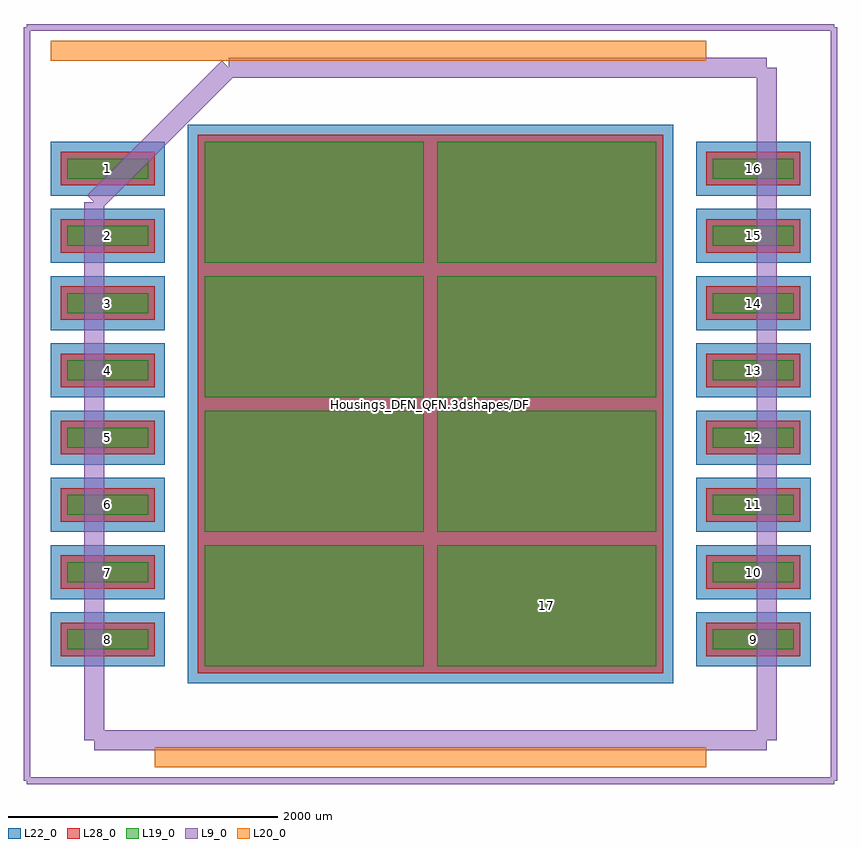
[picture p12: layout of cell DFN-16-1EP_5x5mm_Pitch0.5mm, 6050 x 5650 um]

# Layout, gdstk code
import gdstk
lib = gdstk.Library(unit=1e-6, precision=1e-09)
def R(c, l, rs):  # rectangles x0, y0, x1, y1
    for r in rs: c.add(gdstk.rectangle(r[:2], r[2:], *l))
def A(c, l, x, y, w, h, nx, ny, dx, dy):  # array of equal rectangles
    R(c, l, [(x+i*dx, y+j*dy, x+i*dx+w, y+j*dy+h) for i in range(nx) for j in range(ny)])
L9_0 = (9, 0)
L19_0 = (19, 0)
L20_0 = (20, 0)
L22_0 = (22, 0)
L28_0 = (28, 0)

dfn_16_1ep_5x5mm_pitch0_ = lib.new_cell('DFN-16-1EP_5x5mm_Pitch0.5mm')
A(dfn_16_1ep_5x5mm_pitch0_, L19_0, -1680, -1950, 1630, 900, 1, 4, 0, 1000)
A(dfn_16_1ep_5x5mm_pitch0_, L19_0, 50, -1950, 1630, 900, 1, 4, 0, 1000)
A(dfn_16_1ep_5x5mm_pitch0_, L19_0, -2700, -1825, 600, 150, 1, 8, 0, 500)
A(dfn_16_1ep_5x5mm_pitch0_, L19_0, 2100, -1825, 600, 150, 1, 8, 0, 500)
A(dfn_16_1ep_5x5mm_pitch0_, L22_0, -1805, -2075, 1880, 1150, 1, 4, 0, 1000)
A(dfn_16_1ep_5x5mm_pitch0_, L22_0, -75, -2075, 1880, 1150, 1, 4, 0, 1000)
A(dfn_16_1ep_5x5mm_pitch0_, L22_0, -2825, -1950, 850, 400, 1, 8, 0, 500)
A(dfn_16_1ep_5x5mm_pitch0_, L22_0, 1975, -1950, 850, 400, 1, 8, 0, 500)
A(dfn_16_1ep_5x5mm_pitch0_, L28_0, -1730, -2000, 1730, 1000, 1, 4, 0, 1000)
A(dfn_16_1ep_5x5mm_pitch0_, L28_0, 0, -2000, 1730, 1000, 1, 4, 0, 1000)
A(dfn_16_1ep_5x5mm_pitch0_, L28_0, -2750, -1875, 700, 250, 1, 8, 0, 500)
A(dfn_16_1ep_5x5mm_pitch0_, L28_0, 2050, -1875, 700, 250, 1, 8, 0, 500)
dfn_16_1ep_5x5mm_pitch0_.add(gdstk.FlexPath([(-2825,2625),(2050,2625)], 149.998, ends="flush", simple_path=True, layer=20, datatype=0))  # L20_0
dfn_16_1ep_5x5mm_pitch0_.add(gdstk.FlexPath([(-2050,-2625),(2050,-2625)], 149.998, ends="flush", simple_path=True, layer=20, datatype=0))  # L20_0
dfn_16_1ep_5x5mm_pitch0_.add(gdstk.FlexPath([(-3000,-2800),(3000,-2800)], 50, ends="flush", simple_path=True, layer=9, datatype=0))  # L9_0
dfn_16_1ep_5x5mm_pitch0_.add(gdstk.FlexPath([(-3000,2800),(3000,2800)], 50, ends="flush", simple_path=True, layer=9, datatype=0))  # L9_0
dfn_16_1ep_5x5mm_pitch0_.add(gdstk.FlexPath([(3000,2800),(3000,-2800)], 50, ends="flush", simple_path=True, layer=9, datatype=0))  # L9_0
dfn_16_1ep_5x5mm_pitch0_.add(gdstk.FlexPath([(-3000,2800),(-3000,-2800)], 50, ends="flush", simple_path=True, layer=9, datatype=0))  # L9_0
dfn_16_1ep_5x5mm_pitch0_.add(gdstk.FlexPath([(-2500,1500),(-1500,2500)], 149.998, ends="flush", simple_path=True, layer=9, datatype=0))  # L9_0
dfn_16_1ep_5x5mm_pitch0_.add(gdstk.FlexPath([(-2500,-2500),(-2500,1500)], 149.998, ends="flush", simple_path=True, layer=9, datatype=0))  # L9_0
dfn_16_1ep_5x5mm_pitch0_.add(gdstk.FlexPath([(2500,-2500),(-2500,-2500)], 149.998, ends="flush", simple_path=True, layer=9, datatype=0))  # L9_0
dfn_16_1ep_5x5mm_pitch0_.add(gdstk.FlexPath([(2500,2500),(2500,-2500)], 149.998, ends="flush", simple_path=True, layer=9, datatype=0))  # L9_0
dfn_16_1ep_5x5mm_pitch0_.add(gdstk.FlexPath([(-1500,2500),(2500,2500)], 149.998, ends="flush", simple_path=True, layer=9, datatype=0))  # L9_0
dfn_16_1ep_5x5mm_pitch0_.add(gdstk.Label('Housings_DFN_QFN.3dshapes/DFN-16-1EP_5x5mm_Pitch0.5mm.wrl', (0,0), layer=12, texttype=0))
dfn_16_1ep_5x5mm_pitch0_.add(gdstk.Label('17', (865,-1500), layer=28, texttype=0))
dfn_16_1ep_5x5mm_pitch0_.add(gdstk.Label('16', (2400,1750), layer=28, texttype=0))
dfn_16_1ep_5x5mm_pitch0_.add(gdstk.Label('15', (2400,1250), layer=28, texttype=0))
dfn_16_1ep_5x5mm_pitch0_.add(gdstk.Label('14', (2400,750), layer=28, texttype=0))
dfn_16_1ep_5x5mm_pitch0_.add(gdstk.Label('13', (2400,250), layer=28, texttype=0))
dfn_16_1ep_5x5mm_pitch0_.add(gdstk.Label('12', (2400,-250), layer=28, texttype=0))
dfn_16_1ep_5x5mm_pitch0_.add(gdstk.Label('11', (2400,-750), layer=28, texttype=0))
dfn_16_1ep_5x5mm_pitch0_.add(gdstk.Label('10', (2400,-1250), layer=28, texttype=0))
dfn_16_1ep_5x5mm_pitch0_.add(gdstk.Label('9', (2400,-1750), layer=28, texttype=0))
dfn_16_1ep_5x5mm_pitch0_.add(gdstk.Label('8', (-2400,-1750), layer=28, texttype=0))
dfn_16_1ep_5x5mm_pitch0_.add(gdstk.Label('7', (-2400,-1250), layer=28, texttype=0))
dfn_16_1ep_5x5mm_pitch0_.add(gdstk.Label('6', (-2400,-750), layer=28, texttype=0))
dfn_16_1ep_5x5mm_pitch0_.add(gdstk.Label('5', (-2400,-250), layer=28, texttype=0))
dfn_16_1ep_5x5mm_pitch0_.add(gdstk.Label('4', (-2400,250), layer=28, texttype=0))
dfn_16_1ep_5x5mm_pitch0_.add(gdstk.Label('3', (-2400,750), layer=28, texttype=0))
dfn_16_1ep_5x5mm_pitch0_.add(gdstk.Label('2', (-2400,1250), layer=28, texttype=0))
dfn_16_1ep_5x5mm_pitch0_.add(gdstk.Label('1', (-2400,1750), layer=28, texttype=0))
dfn_16_1ep_5x5mm_pitch0_.add(gdstk.Label('type', (0,-3550), layer=9, texttype=0))
dfn_16_1ep_5x5mm_pitch0_.add(gdstk.Label('devicename', (0,3550), layer=9, texttype=0))

lib.write_gds('DFN-16-1EP_5x5mm_Pitch0.5mm.gds')
